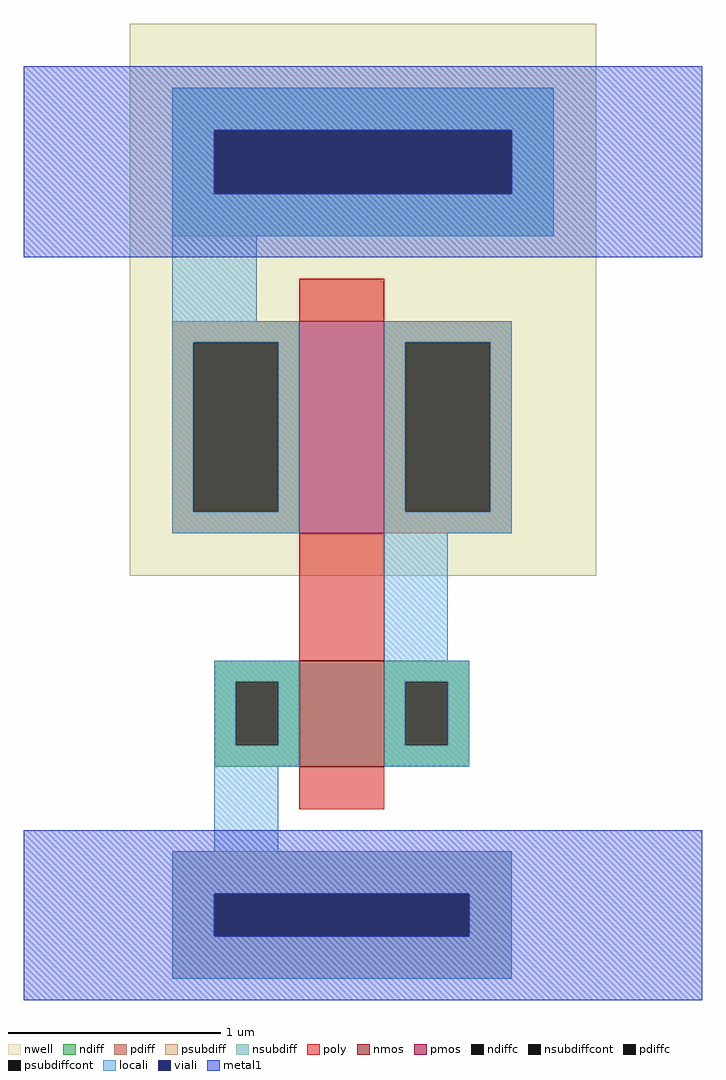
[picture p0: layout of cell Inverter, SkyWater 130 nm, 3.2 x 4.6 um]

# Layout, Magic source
magic
tech sky130A
<< nwell >>
rect 1130 700 1350 960
<< nmos >>
rect 1210 610 1250 660
<< pmos >>
rect 1210 720 1250 820
<< ndiff >>
rect 1170 650 1210 660
rect 1170 620 1180 650
rect 1200 620 1210 650
rect 1170 610 1210 620
rect 1250 650 1290 660
rect 1250 620 1260 650
rect 1280 620 1290 650
rect 1250 610 1290 620
<< pdiff >>
rect 1150 810 1210 820
rect 1150 730 1160 810
rect 1200 730 1210 810
rect 1150 720 1210 730
rect 1250 810 1310 820
rect 1250 730 1260 810
rect 1300 730 1310 810
rect 1250 720 1310 730
<< ndiffc >>
rect 1180 620 1200 650
rect 1260 620 1280 650
<< pdiffc >>
rect 1160 730 1200 810
rect 1260 730 1300 810
<< psubdiff >>
rect 1150 550 1310 570
rect 1150 530 1170 550
rect 1290 530 1310 550
rect 1150 510 1310 530
<< nsubdiff >>
rect 1150 910 1330 930
rect 1150 880 1170 910
rect 1310 880 1330 910
rect 1150 860 1330 880
<< psubdiffcont >>
rect 1170 530 1290 550
<< nsubdiffcont >>
rect 1170 880 1310 910
<< poly >>
rect 1210 820 1250 840
rect 1210 660 1250 720
rect 1210 590 1250 610
<< locali >>
rect 1150 910 1330 930
rect 1150 880 1170 910
rect 1310 880 1330 910
rect 1150 860 1330 880
rect 1150 820 1190 860
rect 1150 810 1210 820
rect 1150 730 1160 810
rect 1200 730 1210 810
rect 1150 720 1210 730
rect 1250 810 1310 820
rect 1250 730 1260 810
rect 1300 730 1310 810
rect 1250 720 1310 730
rect 1250 660 1280 720
rect 1170 650 1210 660
rect 1170 620 1180 650
rect 1200 620 1210 650
rect 1170 610 1210 620
rect 1250 650 1290 660
rect 1250 620 1260 650
rect 1280 620 1290 650
rect 1250 610 1290 620
rect 1170 570 1200 610
rect 1150 550 1310 570
rect 1150 530 1170 550
rect 1290 530 1310 550
rect 1150 510 1310 530
<< viali >>
rect 1170 880 1310 910
rect 1170 530 1290 550
<< metal1 >>
rect 1080 910 1400 940
rect 1080 880 1170 910
rect 1310 880 1400 910
rect 1080 850 1400 880
rect 1080 550 1400 580
rect 1080 530 1170 550
rect 1290 530 1400 550
rect 1080 500 1400 530
<< end >>
